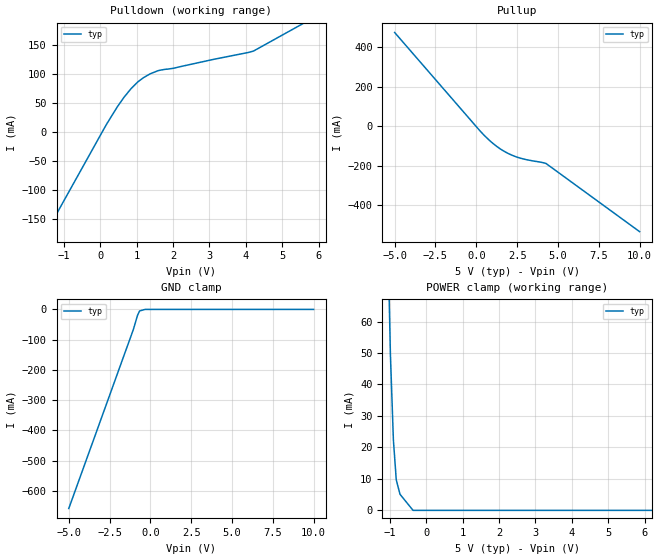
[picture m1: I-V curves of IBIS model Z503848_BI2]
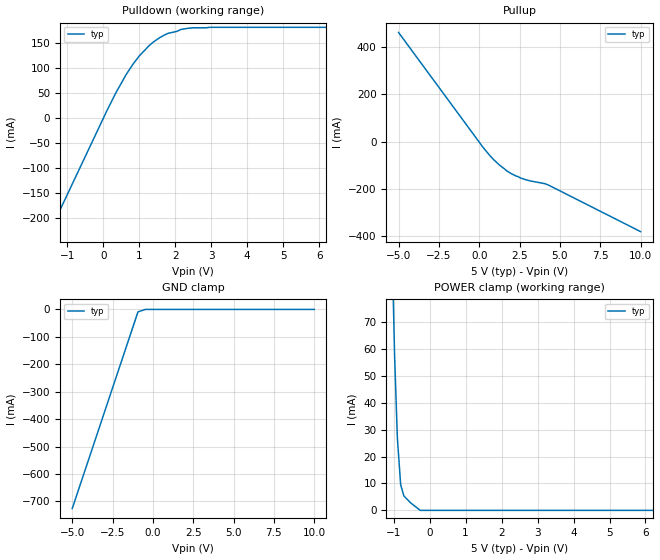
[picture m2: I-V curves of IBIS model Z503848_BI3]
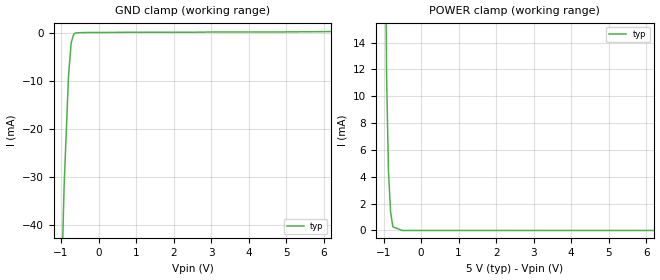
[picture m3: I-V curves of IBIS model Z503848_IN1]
| YOU ARE ONLY AUTHORIZED TO USE THIS SOFTWARE
| ACCORDING TO LICENSOR'S LICENSE RESTRICTIONS.
[IBIS Ver] 3.1
[File Name] mc74act245n.ibs
[File Rev] 2.0
[Source] Measured and created by ICX Technology
[Date] Friday 7/14/00 9:08:01 AM
[Copyright]
| (C) COPYRIGHT 1993-2000
| MENTOR GRAPHICS CORPORATION
| ICX STANDARD LIBRARY, ICX PROJECT MODELING,
| ICX CUSTOM MODELING, ICX VENDOR MODEL
| ALL RIGHTS RESERVED.
| THE FOLLOWING ARE TRADEMARKS OR SERVICE MARKS OF
| MENTOR GRAPHICS CORPORATION:ICX (R), ICX STANDARD
| LIBRARY(R), ICX PROJECT MODELING(R), ICX CUSTOM
| MODELING(R), qualityIBIS(TM), MODELVIEWER(TM),
| AND MODELEDITOR(TM)
| ALL COPIES OF SOFTWARE, INCLUDING BUT NOT LIMITED TO
| ANY MODIFICATIONS, ENHANCEMENTS OR DERIVATIVE WORKS,
| MUST CONTAIN ALL MENTOR GRAPHICS CORPORATION'S
| NOTICES AND LEGENDS, INCLUDING THOSE EMBEDDED IN
| SOFTWARE AND THOSE AFFIXED TO SOFTWARE MEDIUM
| AND CONTAINER, AS RECEIVED FROM MENTOR GRAPHICS
| CORPORATION.
|  ZAP Model Builder 2.7
[Component] MC74ACT245N
[Manufacturer] OnSemiconductor
[Package]
| variable   typ   min   max
R_pkg  .216ohms NA NA
L_pkg  5.76nH NA NA
C_pkg  1.29pF NA NA
[Pin] signal_name  model_name  R_pin  L_pin C_pin
1 DIR Z503848_IN1 .232 9.76n 1.87p
2 A0 Z503848_BI2 .224 7.26n 1.58p
3 A1 Z503848_BI2 .216 5.26n 1.29p
4 A2 Z503848_BI2 .208 3.76n 1.0p
5 A3 Z503848_BI2 .2 2.76n .71p
6 A4 Z503848_BI2 .2 2.76n .71p
7 A5 Z503848_BI2 .208 3.76n 1.0p
8 A6 Z503848_BI2 .216 5.26n 1.29p
9 A7 Z503848_BI2 .224 7.26n 1.58p
10 GND GND .232 9.76n 1.87p
11 B7 Z503848_BI3 .232 9.76n 1.87p
12 B6 Z503848_BI3 .224 7.26n 1.58p
13 B5 Z503848_BI3 .216 5.26n 1.29p
14 B4 Z503848_BI3 .208 3.76n 1.0p
15 B3 Z503848_BI3 .2 2.76n .71p
16 B2 Z503848_BI3 .2 2.76n .71p
17 B1 Z503848_BI3 .208 3.76n 1.0p
18 B0 Z503848_BI3 .216 5.26n 1.29p
19 _G Z503848_IN4 .224 7.26n 1.58p
20 VCC POWER .232 9.76n 1.87p
| Models and submodels in the file (4): Z503848_BI2 (I/O), Z503848_BI3 (I/O), Z503848_IN1 (Input), Z503848_IN4 (Input)
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| (C) COPYRIGHT 1993-2000
| MENTOR GRAPHICS CORPORATION
| ICX STANDARD LIBRARY, ICX PROJECT MODELING,
| ICX CUSTOM MODELING, ICX VENDOR MODEL
| ALL RIGHTS RESERVED.
| THE FOLLOWING ARE TRADEMARKS OR SERVICE MARKS OF
| MENTOR GRAPHICS CORPORATION:ICX (R), ICX STANDARD
| LIBRARY(R), ICX PROJECT MODELING(R), ICX CUSTOM
| MODELING(R), qualityIBIS(TM), MODELVIEWER(TM),
| AND MODELEDITOR(TM)
| ALL COPIES OF SOFTWARE, INCLUDING BUT NOT LIMITED TO
| ANY MODIFICATIONS, ENHANCEMENTS OR DERIVATIVE WORKS,
| MUST CONTAIN ALL MENTOR GRAPHICS CORPORATION'S
| NOTICES AND LEGENDS, INCLUDING THOSE EMBEDDED IN
| SOFTWARE AND THOSE AFFIXED TO SOFTWARE MEDIUM
| AND CONTAINER, AS RECEIVED FROM MENTOR GRAPHICS
| CORPORATION.
| Model Application Version 1.89 2/18/99.
[Model] Z503848_BI2
Model_type I/O
Vinl=800.0mV
Vinh=2.000V
Vref=0.000V
Rref=500.0ohms
Cref=50.00pF
Vmeas=1.500V
C_comp 8.000pF NA NA
| variable typ   min   max
[Voltage Range] 5.000V NA NA
[POWER Clamp Reference] 5.000V NA NA
[Pullup Reference] 5.000V NA NA
[Pulldown Reference] 0.000V NA NA
[GND Clamp Reference] 0.000V NA NA
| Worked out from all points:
|   slope of the pulldown table from 0 to 0.75 V, typ, clamps not added: 10.3 ohm
|   slope of the pullup table from 0 to 0.75 V, typ, clamps not added: 11.5 ohm
[GND Clamp]
-5V       -658.9mA   NA         NA
-1.046V   -66.75mA   NA         NA
-789.2mV  -19.67mA   NA         NA
-664.1mV  -5.096mA   NA         NA
-332mV    0A         NA         NA
10V       0A         NA         NA
[Pulldown]
-5V       -567.1mA   NA         NA
166.1mV   12.67mA    NA         NA
468.8mV   43.27mA    NA         NA
649.6mV   59.45mA    NA         NA
849.7mV   74.79mA    NA         NA
1.036V    86.35mA    NA         NA
1.187V    93.38mA    NA         NA
1.377V    100.2mA    NA         NA
1.587V    105.4mA    NA         NA
2.012V    109.6mA    NA         NA
4.209V    139.1mA    NA         NA
10V       340mA      NA         NA
[Pullup]
-5V       472.9mA    NA         NA
234mV     -24.92mA   NA         NA
1.006V    -86.61mA   NA         NA
1.649V    -124.5mA   NA         NA
2.471V    -156.2mA   NA         NA
4.277V    -189.3mA   NA         NA
10V       -533.3mA   NA         NA
[POWER Clamp]
-5V       2.154A     NA         NA
-981mV    49.57mA    NA         NA
-899mV    22.37mA    NA         NA
-820mV    9.709mA    NA         NA
-718mV    5.12mA     NA         NA
-359mV    0A         NA         NA
10V       0A         NA         NA
[Ramp]
| variable typ min max
dV/dt_r 2.923/454.4p NA NA
dV/dt_f 2.923/263.4p NA NA
R_load = 500.0Ohms
| (C) COPYRIGHT 1993-2000
| MENTOR GRAPHICS CORPORATION
| ICX STANDARD LIBRARY, ICX PROJECT MODELING,
| ICX CUSTOM MODELING, ICX VENDOR MODEL
| ALL RIGHTS RESERVED.
| THE FOLLOWING ARE TRADEMARKS OR SERVICE MARKS OF
| MENTOR GRAPHICS CORPORATION:ICX (R), ICX STANDARD
| LIBRARY(R), ICX PROJECT MODELING(R), ICX CUSTOM
| MODELING(R), qualityIBIS(TM), MODELVIEWER(TM),
| AND MODELEDITOR(TM)
| ALL COPIES OF SOFTWARE, INCLUDING BUT NOT LIMITED TO
| ANY MODIFICATIONS, ENHANCEMENTS OR DERIVATIVE WORKS,
| MUST CONTAIN ALL MENTOR GRAPHICS CORPORATION'S
| NOTICES AND LEGENDS, INCLUDING THOSE EMBEDDED IN
| SOFTWARE AND THOSE AFFIXED TO SOFTWARE MEDIUM
| AND CONTAINER, AS RECEIVED FROM MENTOR GRAPHICS
| CORPORATION.
| Model Application Version 1.89 2/18/99.
[Model] Z503848_BI3
Model_type I/O
Vinl=800.0mV
Vinh=2.000V
Vref=0.000V
Rref=500.0ohms
Cref=50.00pF
Vmeas=1.500V
C_comp 8.000pF NA NA
| variable typ   min   max
[Voltage Range] 5.000V NA NA
[POWER Clamp Reference] 5.000V NA NA
[Pullup Reference] 5.000V NA NA
[Pulldown Reference] 0.000V NA NA
[GND Clamp Reference] 0.000V NA NA
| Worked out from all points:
|   slope of the pulldown table from 0 to 0.75 V, typ, clamps not added: 7.5 ohm
|   slope of the pullup table from 0 to 0.75 V, typ, clamps not added: 11.9 ohm
[GND Clamp]
-5V       -726.1mA   NA         NA
-925.8mV  -8.899mA   NA         NA
-462.9mV  0A         NA         NA
10V       0A         NA         NA
[Pulldown]
-5V       -761.3mA   NA         NA
91.02mV   14.18mA    NA         NA
351.7mV   51.53mA    NA         NA
630.3mV   87.15mA    NA         NA
825.3mV   108.5mA    NA         NA
1.008V    125.6mA    NA         NA
1.378V    152mA      NA         NA
1.797V    170mA      NA         NA
2.346V    180.1mA    NA         NA
2.944V    182mA      NA         NA
10V       182.1mA    NA         NA
[Pullup]
-5V       460.4mA    NA         NA
234mV     -24.18mA   NA         NA
659mV     -59.1mA    NA         NA
1.255V    -99.04mA   NA         NA
1.689V    -122.6mA   NA         NA
2.266V    -144.8mA   NA         NA
3.022V    -163.4mA   NA         NA
4.241V    -181.7mA   NA         NA
10V       -380mA     NA         NA
[POWER Clamp]
-5V       2.446A     NA         NA
-976mV    58.06mA    NA         NA
-898mV    26.98mA    NA         NA
-806mV    9.568mA    NA         NA
-719mV    5.402mA    NA         NA
-524mV    2.735mA    NA         NA
-262mV    0A         NA         NA
10V       0A         NA         NA
[Ramp]
| variable typ min max
dV/dt_r 2.954/475.0p NA NA
dV/dt_f 2.954/284.6p NA NA
R_load = 500.0Ohms
| (C) COPYRIGHT 1993-2000
| MENTOR GRAPHICS CORPORATION
| ICX STANDARD LIBRARY, ICX PROJECT MODELING,
| ICX CUSTOM MODELING, ICX VENDOR MODEL
| ALL RIGHTS RESERVED.
| THE FOLLOWING ARE TRADEMARKS OR SERVICE MARKS OF
| MENTOR GRAPHICS CORPORATION:ICX (R), ICX STANDARD
| LIBRARY(R), ICX PROJECT MODELING(R), ICX CUSTOM
| MODELING(R), qualityIBIS(TM), MODELVIEWER(TM),
| AND MODELEDITOR(TM)
| ALL COPIES OF SOFTWARE, INCLUDING BUT NOT LIMITED TO
| ANY MODIFICATIONS, ENHANCEMENTS OR DERIVATIVE WORKS,
| MUST CONTAIN ALL MENTOR GRAPHICS CORPORATION'S
| NOTICES AND LEGENDS, INCLUDING THOSE EMBEDDED IN
| SOFTWARE AND THOSE AFFIXED TO SOFTWARE MEDIUM
| AND CONTAINER, AS RECEIVED FROM MENTOR GRAPHICS
| CORPORATION.
| Model Application Version 1.89 2/18/99.
[Model] Z503848_IN1
Model_type Input
Vinl = 800.0mV
Vinh = 2.000V
C_comp 4.000pF NA NA
| variable typ   min   max
[Voltage Range] 5.000V NA NA
[GND Clamp Reference] 0.000V NA NA
[POWER Clamp Reference] 5.000V NA NA
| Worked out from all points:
|   GND clamp passes 1 mA (typ) near -0.69 V on its own axis
|   POWER clamp passes 1 mA (typ) near -0.79 V on its own axis
[GND Clamp]
-5V       -2.289A    NA         NA
-1.035V   -67.23mA   NA         NA
-917.2mV  -31.66mA   NA         NA
-800.7mV  -8.909mA   NA         NA
-730.4mV  -2mA       NA         NA
-666.7mV  -291uA     NA         NA
-628mV    31.54uA    NA         NA
-285.6mV  184.8uA    NA         NA
10V       602.8uA    NA         NA
[POWER Clamp]
-5V       3.306A     NA         NA
-1.107V   98.8mA     NA         NA
-1.01V    41.13mA    NA         NA
-918mV    11.46mA    NA         NA
-869mV    4.474mA    NA         NA
-811mV    1.35mA     NA         NA
-752mV    273.4uA    NA         NA
-501.3mV  0A         NA         NA
10V       0A         NA         NA
